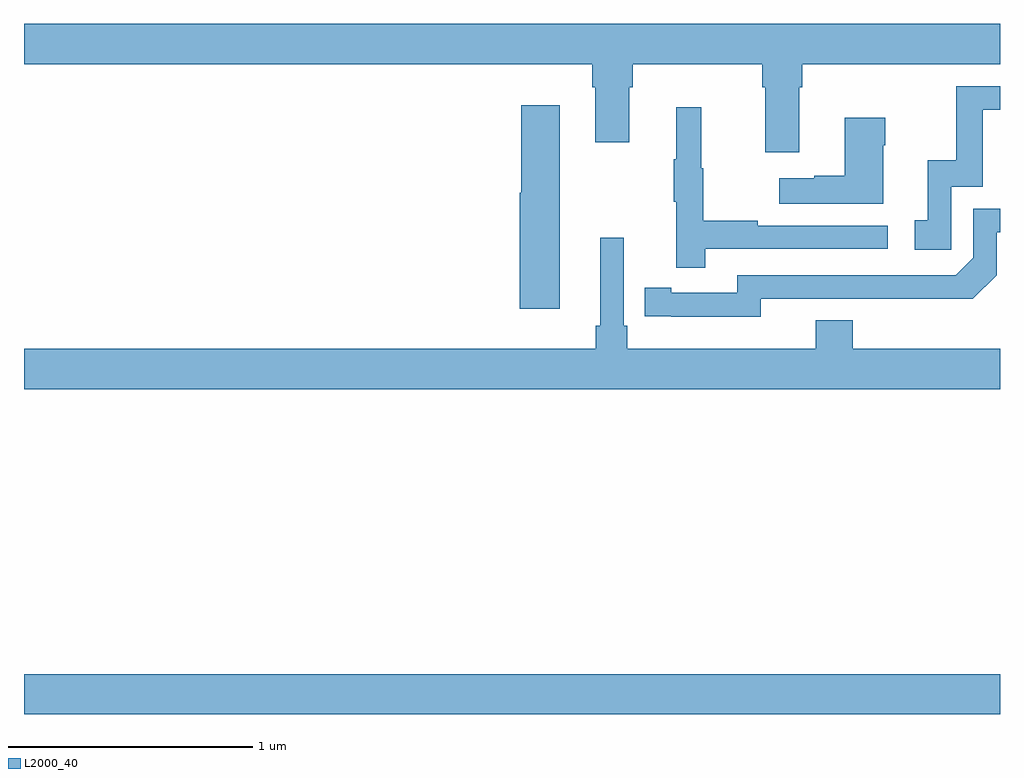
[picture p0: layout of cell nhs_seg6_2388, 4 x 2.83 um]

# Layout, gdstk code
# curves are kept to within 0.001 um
import gdstk
lib = gdstk.Library(unit=1e-6, precision=1e-09)
def R(c, l, rs):  # rectangles x0, y0, x1, y1
    for r in rs: c.add(gdstk.rectangle(r[:2], r[2:], *l))
def P(c, l, *ps):  # polygons
    for p in ps: c.add(gdstk.Polygon(p, *l))
L2000_40 = (2000, 40)

nhs_seg6_2388 = lib.new_cell('nhs_seg6_2388')
R(nhs_seg6_2388, L2000_40, [(253,976.64,257,976.804)])
P(nhs_seg6_2388, L2000_40, [(253,979.304),(255.329,979.304),(255.329,979.208),(255.341,979.208),(255.341,978.984),(255.481,978.984),(255.481,979.208),(255.494,979.208),(255.494,979.304),(256.025,979.304),(256.025,979.208),(256.037,979.208),(256.037,978.942),(256.177,978.942),(256.177,979.208),(256.19,979.208),(256.19,979.304),(257,979.304),(257,979.468),(253,979.468)],
  [(256.8,978.801),(256.929,978.801),(256.929,979.116),(257,979.116),(257,979.212),(256.821,979.212),(256.821,978.91),(256.703,978.91),(256.703,978.663),(256.65,978.663),(256.65,978.543),(256.8,978.543)],
  [(255.196,979.135),(255.038,979.135),(255.038,978.777),(255.032,978.777),(255.032,978.3),(255.196,978.3)],
  [(255.791,978.546),(256.54,978.546),(256.54,978.642),(256.007,978.642),(256.007,978.662),(255.784,978.662),(255.784,978.876),(255.776,978.876),(255.776,979.126),(255.674,979.126),(255.674,978.913),(255.663,978.913),(255.663,978.739),(255.674,978.739),(255.674,978.468),(255.791,978.468)],
  [(256.522,978.971),(256.529,978.971),(256.529,979.084),(256.364,979.084),(256.364,978.845),(256.238,978.845),(256.238,978.835),(256.095,978.835),(256.095,978.731),(256.522,978.731)],
  [(256.02,978.342),(256.888,978.341),(256.986,978.438),(256.986,978.615),(257,978.615),(257,978.711),(256.89,978.711),(256.89,978.51),(256.818,978.438),(255.924,978.438),(255.924,978.366),(255.652,978.366),(255.652,978.386),(255.544,978.386),(255.544,978.27),(256.02,978.269)],
  [(257,978.136),(256.397,978.136),(256.397,978.253),(256.244,978.253),(256.244,978.136),(255.473,978.136),(255.473,978.232),(255.459,978.232),(255.459,978.592),(255.362,978.592),(255.362,978.232),(255.343,978.232),(255.343,978.136),(253,978.136),(253,977.972),(257,977.972)])

lib.write_gds('nhs_seg6_2388.gds')
